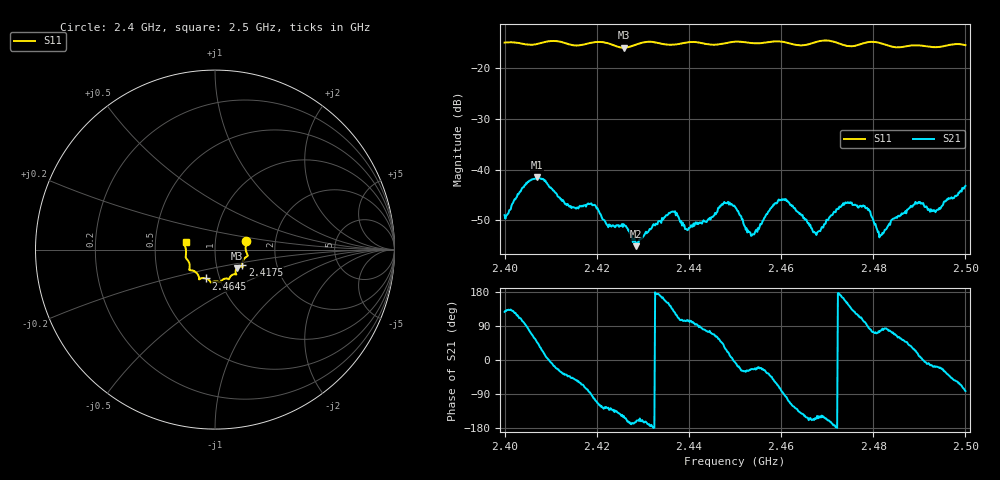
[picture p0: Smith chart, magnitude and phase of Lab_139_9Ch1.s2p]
# Hz S RI R 50
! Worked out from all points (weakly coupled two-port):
!   601 points, 2.4 GHz to 2.5 GHz, reference 50 ohm
!   highest |S21| = -41.55 dB at 2.407 GHz (marker M1); lowest = -55.1 dB at 2.4285 GHz (marker M2)
!   lowest |S11| = -15.9 dB at 2.4258 GHz (marker M3), VSWR 1.38, Z = 62.3 - j13.2 ohm
!   |S11| at or under -10 dB: start of sweep to end of sweep
!   S12 and S22 are empty: the file has one direction only
!   S11 on the Smith chart (normalised r, x): 2.4 GHz: 1.41, +0.14; 2.4175 GHz: 1.34, -0.23; 2.4645 GHz: 0.86, -0.28; 2.5 GHz: 0.72, +0.06
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2.4e9  0.1727 0.0489  -0.00214 0.00283  0 0  0 0
2.407e9  0.1735 -0.0103  0.00565 0.00616  0 0  0 0
2.416667e9  0.1528 -0.0738  0.00185 -0.00391  0 0  0 0
2.4175e9  0.1519 -0.0833  0.00128 -0.00428  0 0  0 0
2.425833e9  0.1219 -0.1035  -0.00244 -0.00156  0 0  0 0
2.4285e9  0.1146 -0.1274  -0.00168 -0.0005  0 0  0 0
2.433333e9  0.113 -0.1372  -0.00307 0.000286  0 0  0 0
2.4365e9  0.0905 -0.1452  -0.00265 0.00281  0 0  0 0
2.439667e9  0.0794 -0.162  -0.000675 0.00243  0 0  0 0
2.4475e9  0.0376 -0.1714  0.00354 0.003  0 0  0 0
2.45e9  0.0287 -0.181  0.00427 -0.000444  0 0  0 0
2.453667e9  0.0129 -0.1771  0.00206 -0.000901  0 0  0 0
2.459833e9  -0.024 -0.1827  0.00128 -0.00485  0 0  0 0
2.4645e9  -0.0515 -0.1607  -0.00276 -0.00219  0 0  0 0
2.466667e9  -0.0758 -0.1594  -0.00246 -0.000958  0 0  0 0
2.4745e9  -0.1017 -0.1312  -0.00399 0.00261  0 0  0 0
2.478833e9  -0.1404 -0.1147  8.49e-05 0.004  0 0  0 0
2.4815e9  -0.1422 -0.1063  0.0005 0.0022  0 0  0 0
2.483333e9  -0.1408 -0.0901  0.000645 0.00277  0 0  0 0
2.489667e9  -0.1633 -0.0423  0.00446 0.00136  0 0  0 0
2.494e9  -0.162 -0.00205  0.00381 -0.00128  0 0  0 0
2.5e9  -0.1637 0.0436  0.000972 -0.00683  0 0  0 0
